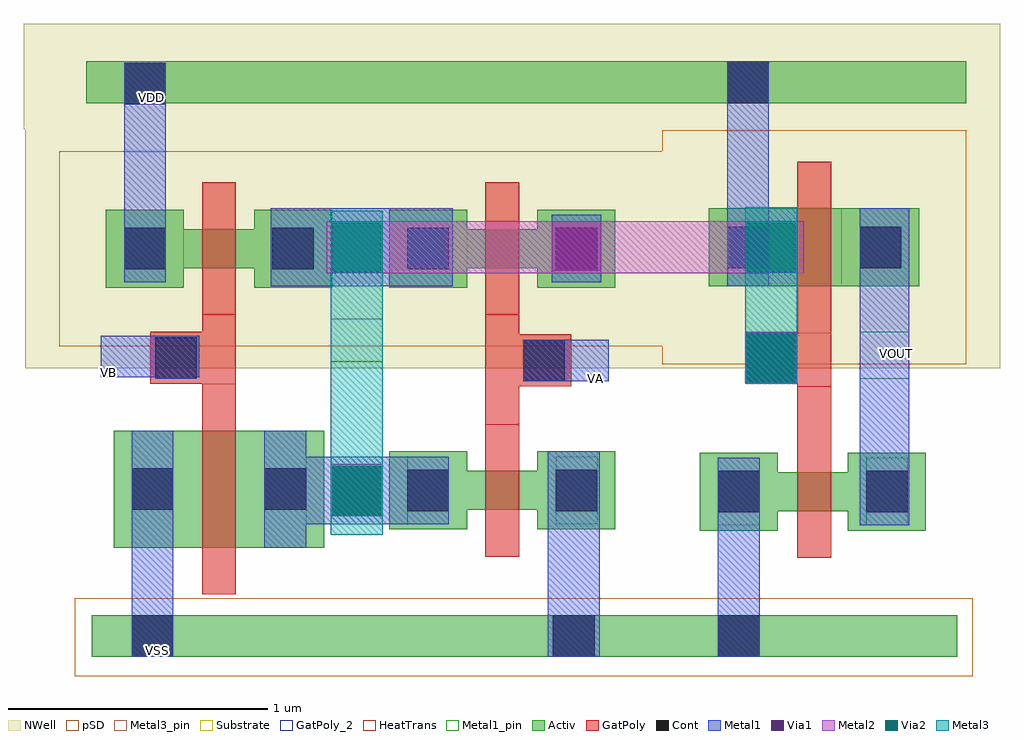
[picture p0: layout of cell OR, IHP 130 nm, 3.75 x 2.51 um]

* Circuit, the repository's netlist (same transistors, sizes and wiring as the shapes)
* Extracted by KLayout with SG13G2 LVS runset on : 26/01/2026 15:06

.SUBCKT OR VB VA VSS VDD VOUT
X$1 VSS VDD VA VB \$7 NOR
M$1 VSS \$7 VOUT VSS sg13_lv_nmos L=0.13u W=0.15u AS=0.1005p AD=0.1005p
+ PS=1.34u PD=1.34u
M$2 VDD \$7 VOUT VDD sg13_lv_pmos L=0.13u W=0.3u AS=0.102p AD=0.102p PS=1.28u
+ PD=1.28u
.ENDS OR

.SUBCKT NOR \$1 \$2 \$3 VB \$5
M$1 \$5 \$3 \$1 \$1 sg13_lv_nmos L=0.13u W=0.45u AS=0.153p AD=0.153p PS=1.58u
+ PD=1.58u
M$2 \$1 VB \$5 \$1 sg13_lv_nmos L=0.13u W=0.15u AS=0.1005p AD=0.1005p PS=1.34u
+ PD=1.34u
M$3 \$7 \$3 \$2 \$2 sg13_lv_pmos L=0.13u W=0.15u AS=0.1005p AD=0.1005p PS=1.34u
+ PD=1.34u
M$4 \$5 VB \$7 \$2 sg13_lv_pmos L=0.13u W=0.15u AS=0.1005p AD=0.1005p PS=1.34u
+ PD=1.34u
.ENDS NOR

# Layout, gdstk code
from math import pi, radians
import gdstk
lib = gdstk.Library(unit=1e-6, precision=5e-09)
def R(c, l, rs):  # rectangles x0, y0, x1, y1
    for r in rs: c.add(gdstk.rectangle(r[:2], r[2:], *l))
Activ = (1, 0)
GatPoly = (5, 0)
GatPoly_2 = (5, 2)
Cont = (6, 0)
Metal1 = (8, 0)
Metal1_pin = (8, 2)
Metal2 = (10, 0)
pSD = (14, 0)
Via1 = (19, 0)
Via2 = (29, 0)
Metal3 = (30, 0)
Metal3_pin = (30, 2)
NWell = (31, 0)
Substrate = (40, 0)
HeatTrans = (51, 0)

pmos_2 = lib.new_cell('pmos$2')
R(pmos_2, Activ, [(0,0,0.3,0.3), (0.57,0,0.87,0.3), (0,0.075,0.87,0.225)])
R(pmos_2, GatPoly, [(0.37,-0.105,0.5,0.405), (0.37,-0.105,0.5,0.405)])
R(pmos_2, Cont, [(0.07,0.07,0.23,0.23), (0.64,0.07,0.8,0.23)])
R(pmos_2, Metal1, [(0.07,0.02,0.23,0.28), (0.07,0.02,0.23,0.28), (0.64,0.02,0.8,0.28), (0.64,0.02,0.8,0.28)])
R(pmos_2, pSD, [(-0.18,-0.225,1.05,0.525)])
R(pmos_2, NWell, [(-0.31,-0.31,1.18,0.61)])
R(pmos_2, Substrate, [(0.57,0,0.87,0.3)])
R(pmos_2, HeatTrans, [(0.37,-0.105,0.5,0.405)])
pmos_2.add(gdstk.Label('pmos', (0.435,0.15), layer=63, texttype=0))
pmos_2.add(gdstk.Label('pmos', (0.435,0.15), layer=51, texttype=0))

nmos_2 = lib.new_cell('nmos$2')
R(nmos_2, Activ, [(0,0,0.3,0.3), (0,0,0.81,0.45), (0.51,0,0.81,0.3)])
R(nmos_2, GatPoly, [(0.34,-0.18,0.47,0.63)])
R(nmos_2, GatPoly_2, [(0.34,-0.18,0.47,0.63)])
R(nmos_2, Cont, [(0.07,0.145,0.23,0.305), (0.58,0.145,0.74,0.305)])
R(nmos_2, Metal1, [(0.07,0,0.23,0.45), (0.58,0,0.74,0.45)])
R(nmos_2, Metal1_pin, [(0.07,0,0.23,0.45), (0.58,0,0.74,0.45)])
R(nmos_2, HeatTrans, [(0.34,-0.18,0.47,0.63)])
nmos_2.add(gdstk.Label('nmos', (0.405,0.225), layer=63, texttype=0))
nmos_2.add(gdstk.Label('nmos', (0.405,0.225), layer=51, texttype=0))

nmos_3_1 = lib.new_cell('nmos$3$1')
R(nmos_3_1, Activ, [(0,0,0.3,0.3), (0.57,0,0.87,0.3), (0,0.075,0.87,0.225)])
R(nmos_3_1, GatPoly, [(0.37,-0.105,0.5,0.405)])
R(nmos_3_1, GatPoly_2, [(0.37,-0.105,0.5,0.405)])
R(nmos_3_1, Cont, [(0.07,0.07,0.23,0.23), (0.64,0.07,0.8,0.23)])
R(nmos_3_1, Metal1, [(0.07,0.02,0.23,0.28), (0.64,0.02,0.8,0.28)])
R(nmos_3_1, Metal1_pin, [(0.07,0.02,0.23,0.28), (0.64,0.02,0.8,0.28)])
R(nmos_3_1, HeatTrans, [(0.37,-0.105,0.5,0.405)])
nmos_3_1.add(gdstk.Label('nmos', (0.435,0.15), layer=63, texttype=0))
nmos_3_1.add(gdstk.Label('nmos', (0.435,0.15), layer=51, texttype=0))

via2_constraint = lib.new_cell('Via2_constraint')
R(via2_constraint, Metal2, [(0,0,0.2,0.2)])
R(via2_constraint, Via2, [(0.005,0.005,0.195,0.195)])
R(via2_constraint, Metal3, [(0,0,0.2,0.2)])

via1_constraint = lib.new_cell('Via1_constraint')
R(via1_constraint, Metal1, [(0,0,0.2,0.2)])
R(via1_constraint, Metal2, [(0,0,0.2,0.2)])
R(via1_constraint, Via1, [(0.005,0.005,0.195,0.195)])

nor = lib.new_cell('NOR')
R(nor, Activ, [(-0.065,-0.175,2.06,-0.015), (-0.085,1.955,2.07,2.115)])
R(nor, GatPoly, [(1.45,0.615,1.58,1.16), (1.58,0.865,1.78,1.065), (0.16,0.875,0.36,1.075), (0.36,0.875,0.49,1.145)])
R(nor, Cont, [(0.09,-0.175,0.25,-0.015), (1.71,-0.175,1.87,-0.015), (1.595,0.885,1.755,1.045), (0.18,0.895,0.34,1.055), (0.06,1.95,0.22,2.11)])
R(nor, Metal1, [(0.09,-0.175,0.25,0.245), (1.69,-0.175,1.89,0.315), (1.69,0.315,1.89,0.615), (0.6,0.335,1.31,0.595), (1.595,0.885,1.755,1.045), (0.18,0.895,0.34,1.055), (0.625,1.25,1.325,1.55), (1.705,1.265,1.895,1.525), (0.06,1.525,0.22,2.11)])
R(nor, Metal1_pin, [(0.09,-0.175,0.25,-0.015), (1.71,-0.175,1.87,-0.015), (1.595,0.885,1.755,1.045), (0.18,0.895,0.34,1.055), (0.06,1.95,0.22,2.11)])
R(nor, Metal2, [(0.845,1.3,1.895,1.5)])
R(nor, pSD, [(-0.13,-0.25,2.115,0.05)])
R(nor, Via1, [(1.705,1.31,1.895,1.5)])
R(nor, Metal3, [(0.855,0.295,1.055,1.54)])
R(nor, Metal3_pin, [(0.855,0.96,1.055,1.125)])
R(nor, NWell, [(-0.325,1.855,2.26,2.26)])
nor.add(gdstk.Reference(pmos_2, (1.95,1.245), rotation=pi, x_reflection=True))
nor.add(gdstk.Reference(nmos_2, (0.83,0.245), rotation=pi, x_reflection=True))
nor.add(gdstk.Reference(nmos_3_1, (1.95,0.315), rotation=pi, x_reflection=True))
nor.add(gdstk.Reference(pmos_2, (0.86,1.245), rotation=pi, x_reflection=True))
nor.add(gdstk.Reference(via2_constraint, (0.855,1.5), x_reflection=True))
nor.add(gdstk.Reference(via2_constraint, (0.855,0.565), x_reflection=True))
nor.add(gdstk.Reference(via1_constraint, (0.855,0.565), x_reflection=True))
nor.add(gdstk.Label('VB', (1.625,0.965), layer=8, texttype=2))
nor.add(gdstk.Label('VA', (0.235,0.975), layer=8, texttype=2))
nor.add(gdstk.Label('VSS', (1.78,-0.05), layer=8, texttype=2))
nor.add(gdstk.Label('VDD', (0.085,2.07), layer=8, texttype=2))
nor.add(gdstk.Label('VSS', (0.16,-0.05), layer=8, texttype=2))
nor.add(gdstk.Label('VB', (1.705,0.955), layer=8, texttype=25))
nor.add(gdstk.Label('VOUT', (0.97,1.025), layer=30, texttype=2))

pmos_1 = lib.new_cell('pmos$1')
R(pmos_1, Activ, [(0,0,0.3,0.3), (0,0,0.81,0.3), (0.51,0,0.81,0.3)])
R(pmos_1, GatPoly, [(0.34,-0.18,0.47,0.48), (0.34,-0.18,0.47,0.48)])
R(pmos_1, Cont, [(0.07,0.07,0.23,0.23), (0.58,0.07,0.74,0.23)])
R(pmos_1, Metal1, [(0.07,0,0.23,0.3), (0.07,0,0.23,0.3), (0.58,0,0.74,0.3), (0.58,0,0.74,0.3)])
R(pmos_1, pSD, [(-0.18,-0.3,0.99,0.6)])
R(pmos_1, NWell, [(-0.31,-0.315,1.12,0.61)])
R(pmos_1, Substrate, [(0.51,0,0.81,0.3)])
R(pmos_1, HeatTrans, [(0.34,-0.18,0.47,0.48)])
pmos_1.add(gdstk.Label('pmos', (0.405,0.15), layer=63, texttype=0))
pmos_1.add(gdstk.Label('pmos', (0.405,0.15), layer=51, texttype=0))

nmos = lib.new_cell('nmos')
R(nmos, Activ, [(-0.005,-0.15,0.295,0.15), (0.565,-0.15,0.865,0.15), (-0.005,-0.075,0.865,0.075)])
R(nmos, GatPoly, [(0.37,-0.255,0.5,0.405)])
R(nmos, GatPoly_2, [(0.37,-0.255,0.5,0.405)])
R(nmos, Cont, [(0.065,-0.08,0.225,0.08), (0.635,-0.08,0.795,0.08)])
R(nmos, Metal1, [(0.065,-0.13,0.225,0.13), (0.635,-0.13,0.795,0.13)])
R(nmos, Metal1_pin, [(0.065,-0.13,0.225,0.13), (0.635,-0.13,0.795,0.13)])
R(nmos, HeatTrans, [(0.37,-0.255,0.5,0.405)])
nmos.add(gdstk.Label('nmos', (0.43,0), layer=63, texttype=0))
nmos.add(gdstk.Label('nmos', (0.43,0), layer=51, texttype=0))

inv_d1 = lib.new_cell('INV_D1')
R(inv_d1, Activ, [(-0.68,-1.24,0.54,-1.08), (-0.655,0.89,0.575,1.05)])
R(inv_d1, GatPoly, [(-0.075,-0.2,0.055,0.005), (-0.275,-0.19,-0.075,0.01)])
R(inv_d1, Cont, [(-0.38,-1.24,-0.22,-1.08), (-0.255,-0.17,-0.095,-0.01), (-0.345,0.89,-0.185,1.05)])
R(inv_d1, Metal1, [(-0.38,-1.24,-0.22,-0.735), (0.165,-0.735,0.355,0.485), (-0.255,-0.17,-0.095,-0.01), (-0.345,0.485,-0.185,1.05)])
R(inv_d1, Metal1_pin, [(-0.38,-1.24,-0.22,-1.08), (-0.255,-0.17,-0.095,-0.01), (0.165,-0.17,0.355,0.01), (-0.345,0.89,-0.185,1.05)])
R(inv_d1, pSD, [(-0.705,-1.315,0.6,-1.015)])
R(inv_d1, NWell, [(-0.725,0.795,0.705,1.195)])
R(inv_d1, Substrate, [(0.095,0.185,0.395,0.485)])
inv_d1.add(gdstk.Reference(pmos_1, (-0.415,0.185)))
inv_d1.add(gdstk.Reference(nmos, (-0.445,-0.605)))
inv_d1.add(gdstk.Label('nmos', (-0.015,-0.75), layer=63, texttype=0))
inv_d1.add(gdstk.Label('VSS', (-0.265,-1.105), layer=8, texttype=2))
inv_d1.add(gdstk.Label('VDD', (-0.215,1.025), layer=8, texttype=2))
inv_d1.add(gdstk.Label('VIN', (-0.155,-0.05), layer=8, texttype=2))
inv_d1.add(gdstk.Label('VOUT', (0.315,-0.025), layer=8, texttype=2))
inv_d1.add(gdstk.Label('VIN', (-0.23,-0.145), layer=8, texttype=25))

c_or = lib.new_cell('OR')
R(c_or, Metal1, [(1.595,0.885,1.925,1.045), (-0.03,0.9,0.35,1.06)])
R(c_or, Metal2, [(0.84,1.3,2.675,1.5)])
R(c_or, Metal3, [(2.45,0.875,2.65,1.555)])
c_or.add(gdstk.Reference(nor, (0,0)))
c_or.add(gdstk.Reference(inv_d1, (2.725,1.065)))
c_or.add(gdstk.Reference(via2_constraint, (2.45,1.3)))
c_or.add(gdstk.Reference(via1_constraint, (2.45,0.875)))
c_or.add(gdstk.Reference(via2_constraint, (2.45,0.875)))
c_or.add(gdstk.Label('VB', (0,0.92), layer=8, texttype=25))
c_or.add(gdstk.Label('VDD', (0.165,1.975), layer=8, texttype=25))
c_or.add(gdstk.Label('VSS', (0.19,-0.15), layer=8, texttype=25))
c_or.add(gdstk.Label('VA', (1.875,0.895), layer=8, texttype=25))
c_or.add(gdstk.Label('VOUT', (3.03,0.99), layer=8, texttype=25))

lib.write_gds('OR.gds')
